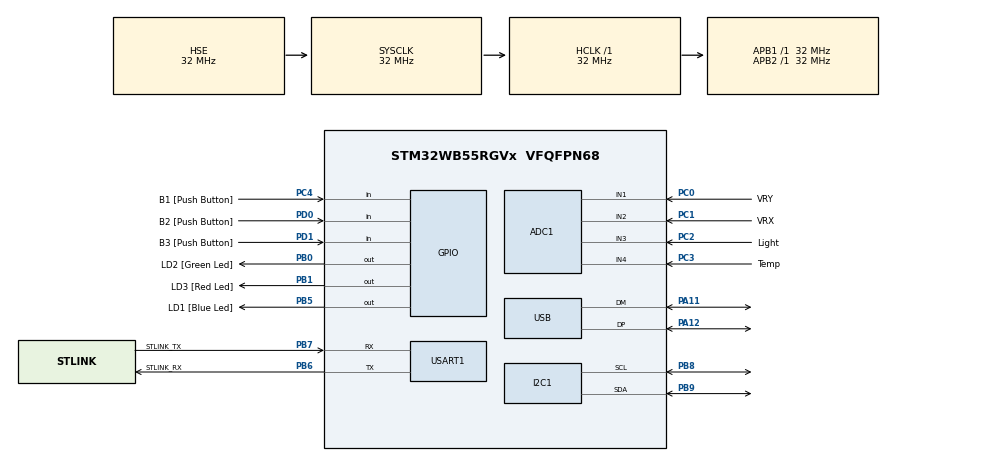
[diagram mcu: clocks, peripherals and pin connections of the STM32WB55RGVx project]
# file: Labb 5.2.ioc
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Mcu.Family=STM32WB
RCC.CortexFreq_Value=32000000
ADC1.ContinuousConvMode=ENABLE
RCC.SMPSCLockSelectionVirtualVirtual=RCC_SMPSCLKSOURCE_HSI
SH.ADCx_IN2.0=ADC1_IN2,IN2-Single-Ended
USART1.WordLength=WORDLENGTH_7B
PA14.GPIO_Label=JTCK
ADC1.OffsetNumber-4\#ChannelRegularConversion=ADC_OFFSET_NONE
PC0.GPIO_Label=VRY
PD0.GPIO_Label=B2 [Push Button]
PA11.Mode=Device
PB0.GPIO_Label=LD2 [Green Led]
PB6.GPIO_Label=STLINK_RX
RCC.SYSCLKSource=RCC_SYSCLKSOURCE_HSE
ProjectManager.StackSize=0x400
PA12.Signal=USB_DP
NVIC.ADC1_IRQn=true\:0\:0\:false\:false\:true\:true\:true
ADC1.Channel-5\#ChannelRegularConversion=ADC_CHANNEL_4
RCC.HCLKFreq_Value=32000000
SH.ADCx_IN3.0=ADC1_IN3,IN3-Single-Ended
RCC.APB2TimFreq_Value=32000000
PB6.Signal=USART1_TX
PB6.Mode=Asynchronous
PC3.Signal=ADCx_IN4
PD0.Signal=GPIO_Input
OSC_OUT.Mode=HSE-External-Oscillator
OSC_OUT.Signal=RCC_OSC_OUT
RCC.AHBFreq_Value=32000000
ADC1.Channel-0\#ChannelRegularConversion=ADC_CHANNEL_2
RCC.HSE_VALUE=32000000
PB3.Mode=Trace_Asynchronous_SW
PD1.GPIO_Label=B3 [Push Button]
ADC1.SamplingTime-4\#ChannelRegularConversion=ADC_SAMPLETIME_640CYCLES_5
PC14-OSC32_IN.Mode=LSE-External-Oscillator
PC4.GPIO_Label=B1 [Push Button]
PA14.Mode=Trace_Asynchronous_SW
PB1.GPIO_Label=LD3 [Red Led]
PB7.Signal=USART1_RX
ADC1.SamplingTime-0\#ChannelRegularConversion=ADC_SAMPLETIME_640CYCLES_5
RCC.APB3Freq_Value=16000000
PB7.GPIO_Label=STLINK_TX
ADC1.OffsetNumber-5\#ChannelRegularConversion=ADC_OFFSET_NONE
PB9.Signal=I2C1_SDA
Mcu.Package=VFQFPN68
TIM2.Prescaler=32
PB1.Signal=GPIO_Output
ADC1.OffsetNumber-1\#ChannelRegularConversion=ADC_OFFSET_NONE
SH.ADCx_IN1.0=ADC1_IN1,IN1-Single-Ended
PB5.GPIO_Label=LD1 [Blue Led]
RCC.APB1TimFreq_Value=32000000
RCC.SMPSDivider=1
PC2.GPIO_Label=Light
RCC.HSI48_VALUE=48000000
ADC1.Rank-4\#ChannelRegularConversion=3
RCC.PLLSAI1N=24
PB3.GPIO_Label=JTDO
PB7.GPIO_PuPd=GPIO_PULLUP
PC15-OSC32_OUT.Mode=LSE-External-Oscillator
ADC1.Rank-0\#ChannelRegularConversion=1
ADC1.Channel-4\#ChannelRegularConversion=ADC_CHANNEL_3
ADC1.OffsetNumber-0\#ChannelRegularConversion=ADC_OFFSET_NONE
PC13.Signal=SYS_WKUP2
PB6.GPIO_PuPd=GPIO_PULLUP
PC2.Signal=ADCx_IN3
PC4.Signal=GPIO_Input
PD1.Signal=GPIO_Input
PC0.Signal=ADCx_IN1
PC14-OSC32_IN.Signal=RCC_OSC32_IN
USART1.VirtualMode-Asynchronous=VM_ASYNC
PA13.Signal=SYS_JTMS-SWDIO
ProjectManager.TargetToolchain=STM32CubeIDE
PB9.Mode=I2C
ADC1.Channel-1\#ChannelRegularConversion=ADC_CHANNEL_1
I2C1.Timing=0x00707CBB
OSC_IN.Signal=RCC_OSC_IN
RCC.USBFreq_Value=48000000
PC15-OSC32_OUT.Signal=RCC_OSC32_OUT
RCC.SMPSCLockSelectionVirtual=RCC_SMPSCLKSOURCE_HSI
board=NUCLEO-WB55RG
RCC.VCOOutputFreq_Value=128000000
RCC.APB2Freq_Value=32000000
VP_TIM2_VS_ClockSourceINT.Mode=Internal
RCC.ADCFreq_Value=48000000
PC1.GPIO_Label=VRX
SH.ADCx_IN4.0=ADC1_IN4,IN4-Single-Ended
ADC1.NbrOfConversion=4
PA13.Mode=Trace_Asynchronous_SW
PC13.Mode=SYS_WakeUp1
Mcu.Name=STM32WB55RGVx
PA13.GPIO_Label=JTMS
PB3.Signal=SYS_JTDO-SWO
ADC1.SamplingTime-1\#ChannelRegularConversion=ADC_SAMPLETIME_640CYCLES_5
RCC.SYSCLKFreq_VALUE=32000000
PB5.Signal=GPIO_Output
ADC1.master=1
PA12.Mode=Device
OSC_IN.Mode=HSE-External-Oscillator
ADC1.Rank-1\#ChannelRegularConversion=2
PB7.Mode=Asynchronous
PA11.Signal=USB_DM
PA14.Signal=SYS_JTCK-SWCLK
ProjectManager.HeapSize=0x200
ADC1.SamplingTime-5\#ChannelRegularConversion=ADC_SAMPLETIME_640CYCLES_5
RCC.HSI_VALUE=16000000
NVIC.PriorityGroup=NVIC_PRIORITYGROUP_4
ADC1.NbrOfConversionFlag=1
PB8.Mode=I2C
RCC.PLLN=32
PB8.Signal=I2C1_SCL
PC3.GPIO_Label=Temp
RCC.APB1Freq_Value=32000000
PB0.Signal=GPIO_Output
ADC1.Rank-5\#ChannelRegularConversion=4
PC1.Signal=ADCx_IN2

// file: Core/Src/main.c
/* USER CODE BEGIN Header */
/**
 ******************************************************************************
 * @file           : main.c
 * @brief          : Main program body
 ******************************************************************************
 * @attention
 *
 * <h2><center>&copy; Copyright (c) 2021 STMicroelectronics.
 * All rights reserved.</center></h2>
 *
 * This software component is licensed by ST under BSD 3-Clause license,
 * the "License"; You may not use this file except in compliance with the
 * License. You may obtain a copy of the License at:
 *                        opensource.org/licenses/BSD-3-Clause
 *
 ******************************************************************************
 */
/* USER CODE END Header */
#include "main.h"

/* USER CODE BEGIN Includes */
#include "lcd.h"
#include <string.h>
/* USER CODE END Includes */

ADC_HandleTypeDef hadc1;

I2C_HandleTypeDef hi2c1;

TIM_HandleTypeDef htim2;

UART_HandleTypeDef huart1;

PCD_HandleTypeDef hpcd_USB_FS;

/* USER CODE BEGIN PV */
static uint32_t adcValue[4]={0,0,0,0};
TextLCDType lcd;
static int adcIndex=0;
static int print=0;
/* USER CODE END PV */

void SystemClock_Config(void);
static void MX_GPIO_Init(void);
static void MX_USART1_UART_Init(void);
static void MX_USB_PCD_Init(void);
static void MX_ADC1_Init(void);
static void MX_I2C1_Init(void);
static void MX_TIM2_Init(void);

/* USER CODE BEGIN 0 */

void delay_us(uint32_t us){
	__HAL_TIM_SET_COUNTER(&htim2,0);
	while (__HAL_TIM_GET_COUNTER(&htim2) < us);
}

void HAL_ADC_ConvCpltCallback(ADC_HandleTypeDef* hadc1) {
	if(__HAL_ADC_GET_FLAG(hadc1,ADC_FLAG_EOC)){
		adcValue[adcIndex] = HAL_ADC_GetValue(hadc1);
		adcIndex= ((adcIndex+1)%4);

		if(adcIndex==0)
		if( adcValue[0]<1500 || adcValue[0]>2500|| adcValue[1]<1500 || adcValue[1]>2500)
				print=1;
	}

}
/* USER CODE END 0 */

int main(void)
{

  /* MCU Configuration--------------------------------------------------------*/

  /* Reset of all peripherals, Initializes the Flash interface and the Systick. */
  HAL_Init();

  /* Configure the system clock */
  SystemClock_Config();

  /* Initialize all configured peripherals */
  MX_GPIO_Init();
  MX_USART1_UART_Init();
  MX_USB_PCD_Init();
  MX_ADC1_Init();
  MX_I2C1_Init();
  MX_TIM2_Init();
  /* USER CODE BEGIN 2 */
	HAL_TIM_Base_Start(&htim2);
	HAL_ADC_Start_IT(&hadc1);

	TextLCD_Init(&lcd, &hi2c1, 0x4E);
	TextLCD_Clear(&lcd);
	TextLCD_Home(&lcd);
  /* USER CODE END 2 */

  /* Infinite loop */
  /* USER CODE BEGIN WHILE */
	while (1)
	{
		//		HAL_GPIO_TogglePin(LD1_GPIO_Port, LD1_Pin);
		//		delay_us(1000000);

		if(print==1){
			TextLCD_Clear(&lcd);
			if(adcValue[0]<1200)
				TextLCD_Puts(&lcd, "Left ");
			else if(adcValue[0]>2800)
				TextLCD_Puts(&lcd, "Right ");
			if(adcValue[1]<1200)
				TextLCD_Puts(&lcd, "Up ");
			else if(adcValue[1]>2800)
				TextLCD_Puts(&lcd, "Down ");

			TextLCD_Position(&lcd, 0, 1);
			char temp[5];
			itoa(adcValue[2],temp,10);
			TextLCD_Puts(&lcd, "Temp:");
			TextLCD_Puts(&lcd, temp);
			TextLCD_Putchar(&lcd, ' ');
			if(adcValue[3]<450)
				TextLCD_Puts(&lcd, "Dark");
			else
				TextLCD_Puts(&lcd, "Bright");

			print=0;
		}
		delay_us(200000);

    /* USER CODE END WHILE */

	}
}

void SystemClock_Config(void)
{
  RCC_OscInitTypeDef RCC_OscInitStruct = {0};
  RCC_ClkInitTypeDef RCC_ClkInitStruct = {0};
  RCC_PeriphCLKInitTypeDef PeriphClkInitStruct = {0};

  /** Macro to configure the PLL multiplication factor
  */
  __HAL_RCC_PLL_PLLM_CONFIG(RCC_PLLM_DIV1);
  /** Macro to configure the PLL clock source
  */
  __HAL_RCC_PLL_PLLSOURCE_CONFIG(RCC_PLLSOURCE_MSI);
  /** Configure LSE Drive Capability
  */
  HAL_PWR_EnableBkUpAccess();
  __HAL_RCC_LSEDRIVE_CONFIG(RCC_LSEDRIVE_LOW);
  /** Configure the main internal regulator output voltage
  */
  __HAL_PWR_VOLTAGESCALING_CONFIG(PWR_REGULATOR_VOLTAGE_SCALE1);
  /** Initializes the RCC Oscillators according to the specified parameters
  * in the RCC_OscInitTypeDef structure.
  */
  RCC_OscInitStruct.OscillatorType = RCC_OSCILLATORTYPE_HSI|RCC_OSCILLATORTYPE_HSE
                              |RCC_OSCILLATORTYPE_LSE|RCC_OSCILLATORTYPE_MSI;
  RCC_OscInitStruct.HSEState = RCC_HSE_ON;
  RCC_OscInitStruct.LSEState = RCC_LSE_ON;
  RCC_OscInitStruct.HSIState = RCC_HSI_ON;
  RCC_OscInitStruct.MSIState = RCC_MSI_ON;
  RCC_OscInitStruct.HSICalibrationValue = RCC_HSICALIBRATION_DEFAULT;
  RCC_OscInitStruct.MSICalibrationValue = RCC_MSICALIBRATION_DEFAULT;
  RCC_OscInitStruct.MSIClockRange = RCC_MSIRANGE_6;
  RCC_OscInitStruct.PLL.PLLState = RCC_PLL_NONE;
  if (HAL_RCC_OscConfig(&RCC_OscInitStruct) != HAL_OK)
  {
    Error_Handler();
  }
  /** Configure the SYSCLKSource, HCLK, PCLK1 and PCLK2 clocks dividers
  */
  RCC_ClkInitStruct.ClockType = RCC_CLOCKTYPE_HCLK4|RCC_CLOCKTYPE_HCLK2
                              |RCC_CLOCKTYPE_HCLK|RCC_CLOCKTYPE_SYSCLK
                              |RCC_CLOCKTYPE_PCLK1|RCC_CLOCKTYPE_PCLK2;
  RCC_ClkInitStruct.SYSCLKSource = RCC_SYSCLKSOURCE_HSE;
  RCC_ClkInitStruct.AHBCLKDivider = RCC_SYSCLK_DIV1;
  RCC_ClkInitStruct.APB1CLKDivider = RCC_HCLK_DIV1;
  RCC_ClkInitStruct.APB2CLKDivider = RCC_HCLK_DIV1;
  RCC_ClkInitStruct.AHBCLK2Divider = RCC_SYSCLK_DIV1;
  RCC_ClkInitStruct.AHBCLK4Divider = RCC_SYSCLK_DIV1;

  if (HAL_RCC_ClockConfig(&RCC_ClkInitStruct, FLASH_LATENCY_1) != HAL_OK)
  {
    Error_Handler();
  }
  /** Initializes the peripherals clocks
  */
  PeriphClkInitStruct.PeriphClockSelection = RCC_PERIPHCLK_SMPS|RCC_PERIPHCLK_USART1
                              |RCC_PERIPHCLK_I2C1|RCC_PERIPHCLK_USB
                              |RCC_PERIPHCLK_ADC;
  PeriphClkInitStruct.PLLSAI1.PLLN = 24;
  PeriphClkInitStruct.PLLSAI1.PLLP = RCC_PLLP_DIV2;
  PeriphClkInitStruct.PLLSAI1.PLLQ = RCC_PLLQ_DIV2;
  PeriphClkInitStruct.PLLSAI1.PLLR = RCC_PLLR_DIV2;
  PeriphClkInitStruct.PLLSAI1.PLLSAI1ClockOut = RCC_PLLSAI1_USBCLK|RCC_PLLSAI1_ADCCLK;
  PeriphClkInitStruct.Usart1ClockSelection = RCC_USART1CLKSOURCE_PCLK2;
  PeriphClkInitStruct.I2c1ClockSelection = RCC_I2C1CLKSOURCE_PCLK1;
  PeriphClkInitStruct.UsbClockSelection = RCC_USBCLKSOURCE_PLLSAI1;
  PeriphClkInitStruct.AdcClockSelection = RCC_ADCCLKSOURCE_PLLSAI1;
  PeriphClkInitStruct.SmpsClockSelection = RCC_SMPSCLKSOURCE_HSI;
  PeriphClkInitStruct.SmpsDivSelection = RCC_SMPSCLKDIV_RANGE0;
  if (HAL_RCCEx_PeriphCLKConfig(&PeriphClkInitStruct) != HAL_OK)
  {
    Error_Handler();
  }
  /** Enable MSI Auto calibration
  */
  HAL_RCCEx_EnableMSIPLLMode();
}

static void MX_ADC1_Init(void)
{

  ADC_ChannelConfTypeDef sConfig = {0};

  /** Common config
  */
  hadc1.Instance = ADC1;
  hadc1.Init.ClockPrescaler = ADC_CLOCK_ASYNC_DIV1;
  hadc1.Init.Resolution = ADC_RESOLUTION_12B;
  hadc1.Init.DataAlign = ADC_DATAALIGN_RIGHT;
  hadc1.Init.ScanConvMode = ADC_SCAN_ENABLE;
  hadc1.Init.EOCSelection = ADC_EOC_SINGLE_CONV;
  hadc1.Init.LowPowerAutoWait = DISABLE;
  hadc1.Init.ContinuousConvMode = ENABLE;
  hadc1.Init.NbrOfConversion = 4;
  hadc1.Init.DiscontinuousConvMode = DISABLE;
  hadc1.Init.ExternalTrigConv = ADC_SOFTWARE_START;
  hadc1.Init.ExternalTrigConvEdge = ADC_EXTERNALTRIGCONVEDGE_NONE;
  hadc1.Init.DMAContinuousRequests = DISABLE;
  hadc1.Init.Overrun = ADC_OVR_DATA_PRESERVED;
  hadc1.Init.OversamplingMode = DISABLE;
  if (HAL_ADC_Init(&hadc1) != HAL_OK)
  {
    Error_Handler();
  }
  /** Configure Regular Channel
  */
  sConfig.Channel = ADC_CHANNEL_2;
  sConfig.Rank = ADC_REGULAR_RANK_1;
  sConfig.SamplingTime = ADC_SAMPLETIME_640CYCLES_5;
  sConfig.SingleDiff = ADC_SINGLE_ENDED;
  sConfig.OffsetNumber = ADC_OFFSET_NONE;
  sConfig.Offset = 0;
  if (HAL_ADC_ConfigChannel(&hadc1, &sConfig) != HAL_OK)
  {
    Error_Handler();
  }
  /** Configure Regular Channel
  */
  sConfig.Channel = ADC_CHANNEL_1;
  sConfig.Rank = ADC_REGULAR_RANK_2;
  if (HAL_ADC_ConfigChannel(&hadc1, &sConfig) != HAL_OK)
  {
    Error_Handler();
  }
  /** Configure Regular Channel
  */
  sConfig.Channel = ADC_CHANNEL_3;
  sConfig.Rank = ADC_REGULAR_RANK_3;
  if (HAL_ADC_ConfigChannel(&hadc1, &sConfig) != HAL_OK)
  {
    Error_Handler();
  }
  /** Configure Regular Channel
  */
  sConfig.Channel = ADC_CHANNEL_4;
  sConfig.Rank = ADC_REGULAR_RANK_4;
  if (HAL_ADC_ConfigChannel(&hadc1, &sConfig) != HAL_OK)
  {
    Error_Handler();
  }

}

static void MX_I2C1_Init(void)
{

  hi2c1.Instance = I2C1;
  hi2c1.Init.Timing = 0x00707CBB;
  hi2c1.Init.OwnAddress1 = 0;
  hi2c1.Init.AddressingMode = I2C_ADDRESSINGMODE_7BIT;
  hi2c1.Init.DualAddressMode = I2C_DUALADDRESS_DISABLE;
  hi2c1.Init.OwnAddress2 = 0;
  hi2c1.Init.OwnAddress2Masks = I2C_OA2_NOMASK;
  hi2c1.Init.GeneralCallMode = I2C_GENERALCALL_DISABLE;
  hi2c1.Init.NoStretchMode = I2C_NOSTRETCH_DISABLE;
  if (HAL_I2C_Init(&hi2c1) != HAL_OK)
  {
    Error_Handler();
  }
  /** Configure Analogue filter
  */
  if (HAL_I2CEx_ConfigAnalogFilter(&hi2c1, I2C_ANALOGFILTER_ENABLE) != HAL_OK)
  {
    Error_Handler();
  }
  /** Configure Digital filter
  */
  if (HAL_I2CEx_ConfigDigitalFilter(&hi2c1, 0) != HAL_OK)
  {
    Error_Handler();
  }

}

static void MX_TIM2_Init(void)
{

  TIM_ClockConfigTypeDef sClockSourceConfig = {0};
  TIM_MasterConfigTypeDef sMasterConfig = {0};

  htim2.Instance = TIM2;
  htim2.Init.Prescaler = 32;
  htim2.Init.CounterMode = TIM_COUNTERMODE_UP;
  htim2.Init.Period = 4294967295;
  htim2.Init.ClockDivision = TIM_CLOCKDIVISION_DIV1;
  htim2.Init.AutoReloadPreload = TIM_AUTORELOAD_PRELOAD_DISABLE;
  if (HAL_TIM_Base_Init(&htim2) != HAL_OK)
  {
    Error_Handler();
  }
  sClockSourceConfig.ClockSource = TIM_CLOCKSOURCE_INTERNAL;
  if (HAL_TIM_ConfigClockSource(&htim2, &sClockSourceConfig) != HAL_OK)
  {
    Error_Handler();
  }
  sMasterConfig.MasterOutputTrigger = TIM_TRGO_RESET;
  sMasterConfig.MasterSlaveMode = TIM_MASTERSLAVEMODE_DISABLE;
  if (HAL_TIMEx_MasterConfigSynchronization(&htim2, &sMasterConfig) != HAL_OK)
  {
    Error_Handler();
  }

}

static void MX_USART1_UART_Init(void)
{

  huart1.Instance = USART1;
  huart1.Init.BaudRate = 115200;
  huart1.Init.WordLength = UART_WORDLENGTH_7B;
  huart1.Init.StopBits = UART_STOPBITS_1;
  huart1.Init.Parity = UART_PARITY_NONE;
  huart1.Init.Mode = UART_MODE_TX_RX;
  huart1.Init.HwFlowCtl = UART_HWCONTROL_NONE;
  huart1.Init.OverSampling = UART_OVERSAMPLING_16;
  huart1.Init.OneBitSampling = UART_ONE_BIT_SAMPLE_DISABLE;
  huart1.Init.ClockPrescaler = UART_PRESCALER_DIV1;
  huart1.AdvancedInit.AdvFeatureInit = UART_ADVFEATURE_NO_INIT;
  if (HAL_UART_Init(&huart1) != HAL_OK)
  {
    Error_Handler();
  }
  if (HAL_UARTEx_SetTxFifoThreshold(&huart1, UART_TXFIFO_THRESHOLD_1_8) != HAL_OK)
  {
    Error_Handler();
  }
  if (HAL_UARTEx_SetRxFifoThreshold(&huart1, UART_RXFIFO_THRESHOLD_1_8) != HAL_OK)
  {
    Error_Handler();
  }
  if (HAL_UARTEx_DisableFifoMode(&huart1) != HAL_OK)
  {
    Error_Handler();
  }

}

static void MX_USB_PCD_Init(void)
{

  hpcd_USB_FS.Instance = USB;
  hpcd_USB_FS.Init.dev_endpoints = 8;
  hpcd_USB_FS.Init.speed = PCD_SPEED_FULL;
  hpcd_USB_FS.Init.phy_itface = PCD_PHY_EMBEDDED;
  hpcd_USB_FS.Init.Sof_enable = DISABLE;
  hpcd_USB_FS.Init.low_power_enable = DISABLE;
  hpcd_USB_FS.Init.lpm_enable = DISABLE;
  hpcd_USB_FS.Init.battery_charging_enable = DISABLE;
  if (HAL_PCD_Init(&hpcd_USB_FS) != HAL_OK)
  {
    Error_Handler();
  }

}

static void MX_GPIO_Init(void)
{
  GPIO_InitTypeDef GPIO_InitStruct = {0};

  /* GPIO Ports Clock Enable */
  __HAL_RCC_GPIOC_CLK_ENABLE();
  __HAL_RCC_GPIOB_CLK_ENABLE();
  __HAL_RCC_GPIOA_CLK_ENABLE();
  __HAL_RCC_GPIOD_CLK_ENABLE();

  /*Configure GPIO pin Output Level */
  HAL_GPIO_WritePin(GPIOB, LD2_Pin|LD3_Pin|LD1_Pin, GPIO_PIN_RESET);

  /*Configure GPIO pin : B1_Pin */
  GPIO_InitStruct.Pin = B1_Pin;
  GPIO_InitStruct.Mode = GPIO_MODE_INPUT;
  GPIO_InitStruct.Pull = GPIO_NOPULL;
  HAL_GPIO_Init(B1_GPIO_Port, &GPIO_InitStruct);

  /*Configure GPIO pins : LD2_Pin LD3_Pin LD1_Pin */
  GPIO_InitStruct.Pin = LD2_Pin|LD3_Pin|LD1_Pin;
  GPIO_InitStruct.Mode = GPIO_MODE_OUTPUT_PP;
  GPIO_InitStruct.Pull = GPIO_NOPULL;
  GPIO_InitStruct.Speed = GPIO_SPEED_FREQ_LOW;
  HAL_GPIO_Init(GPIOB, &GPIO_InitStruct);

  /*Configure GPIO pins : B2_Pin B3_Pin */
  GPIO_InitStruct.Pin = B2_Pin|B3_Pin;
  GPIO_InitStruct.Mode = GPIO_MODE_INPUT;
  GPIO_InitStruct.Pull = GPIO_NOPULL;
  HAL_GPIO_Init(GPIOD, &GPIO_InitStruct);

}

void Error_Handler(void)
{
	__disable_irq();
	while (1)
	{
	}
}

/************************ (C) COPYRIGHT STMicroelectronics *****END OF FILE****/
